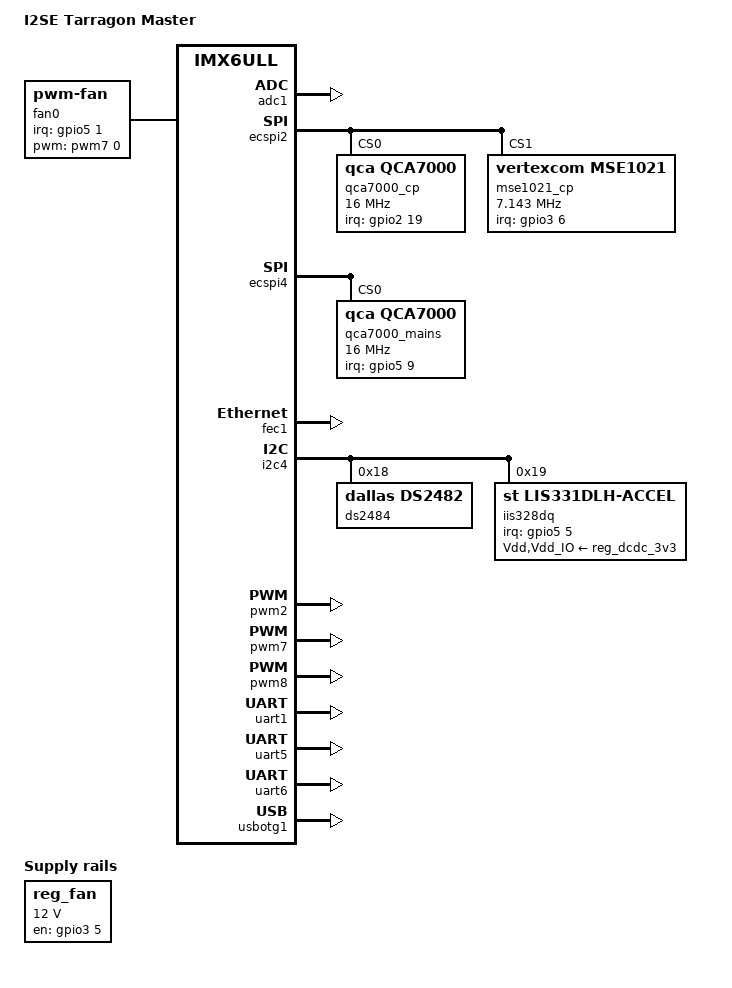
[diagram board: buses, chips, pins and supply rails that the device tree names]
/*
 * Copyright (C) 2018 I2SE GmbH
 * Copyright (C) 2020 in-tech smart charging GmbH
 *
 * This program is free software; you can redistribute it and/or modify
 * it under the terms of the GNU General Public License version 2 as
 * published by the Free Software Foundation.
 */

#include "imx6ull-tarragon-common.dtsi"
#include "imx6ull-tarragon-pmic.dtsi"

/ {
	model = "I2SE Tarragon Master";
	compatible = "fsl,imx6ull-tarragon", "fsl,imx6ull";

	fan0: pwm-fan {
		compatible = "pwm-fan";
		pwms = <&pwm7 0 40000 PWM_POLARITY_INVERTED>;
		interrupt-parent = <&gpio5>;
		interrupts = <1 IRQ_TYPE_EDGE_FALLING>;
	};

	reg_fan: regulator {
		compatible = "regulator-fixed";
		regulator-name = "fan-supply";
		regulator-min-microvolt = <12000000>;
		regulator-max-microvolt = <12000000>;
		gpio = <&gpio3 5 GPIO_ACTIVE_HIGH>;
		enable-active-high;
		regulator-boot-on;
 	};

};

&adc1 {
	status = "okay";
};

&ecspi2 {
	status = "okay";

	qca7000_cp: ethernet@0 {
		reg = <0x0>;
		compatible = "qca,qca7000";
		pinctrl-names = "default";
		pinctrl-0 = <&pinctrl_qca7000_cp_int &pinctrl_qca7000_cp_rst &pinctrl_qca7000_cp_btld>;
		interrupt-parent = <&gpio2>;
		interrupts = <19 IRQ_TYPE_EDGE_RISING>;
		spi-cpha;
		spi-cpol;
		spi-max-frequency = <16000000>;
	};

	mse1021_cp: ethernet@1 {
		reg = <0x1>;
		compatible = "vertexcom,mse1021";
		pinctrl-names = "default";
		pinctrl-0 = <&pinctrl_mse1021_cp_int>;
		interrupt-parent = <&gpio3>;
		interrupts = <6 IRQ_TYPE_EDGE_RISING>; // SPI_S_INT
		spi-cpha;
		spi-cpol;
		spi-max-frequency = <7142857>;
	};
};

&ecspi4 {
	status = "okay";

	qca7000_mains: ethernet@0 {
		reg = <0x0>;
		compatible = "qca,qca7000";
		pinctrl-names = "default";
		pinctrl-0 = <&pinctrl_qca7000_mains_int &pinctrl_qca7000_mains_rst &pinctrl_qca7000_mains_btld>;
		interrupt-parent = <&gpio5>;
		interrupts = <9 IRQ_TYPE_EDGE_RISING>;
		spi-cpha;
		spi-cpol;
		spi-max-frequency = <16000000>;
	};
};

&fec1 {
	status = "okay";
};

&i2c4 {
	ds2484@18 {
		compatible = "dallas,ds2482";
		reg = <0x18>;
	};

	iis328dq@19 {
		compatible = "st,lis331dlh-accel", "st,lis3lv02d";
		reg = <0x19>;
		Vdd-supply = <&reg_dcdc_3v3>;
		Vdd_IO-supply = <&reg_dcdc_3v3>;
		interrupt-parent = <&gpio5>;
		interrupts = <5 IRQ_TYPE_EDGE_RISING>; // INT1

		st,click-single-x;
		st,click-single-y;
		st,click-single-z;
		st,click-thresh-x = <10>;
		st,click-thresh-y = <10>;
		st,click-thresh-z = <10>;
		st,irq1-click;
		st,wakeup-x-lo;
		st,wakeup-x-hi;
		st,wakeup-y-lo;
		st,wakeup-y-hi;
		st,wakeup-z-lo;
		st,wakeup-z-hi;
		st,min-limit-x = <120>;
		st,min-limit-y = <120>;
		st,min-limit-z = <140>;
		st,max-limit-x = <550>;
		st,max-limit-y = <550>;
		st,max-limit-z = <750>;
	};
};

&iomuxc {
	pinctrl-0 = <&pinctrl_hog_pins
	             &pinctrl_gpio_motor
	             &pinctrl_push_pull_cfg
	             &pinctrl_dig_in>;
};

&pwm2 {
	status = "okay";
};

&pwm7 {
	pinctrl-names = "default";
	pinctrl-0 = <&pinctrl_pwm_fan>;
	status = "okay";
};

&pwm8 {
	status = "okay";
};

&uart1 {
	status = "okay";
};

&uart5 {
	status = "okay";
};

&uart6 {
	status = "okay";
};

&usbotg1 {
	status = "okay";
};
